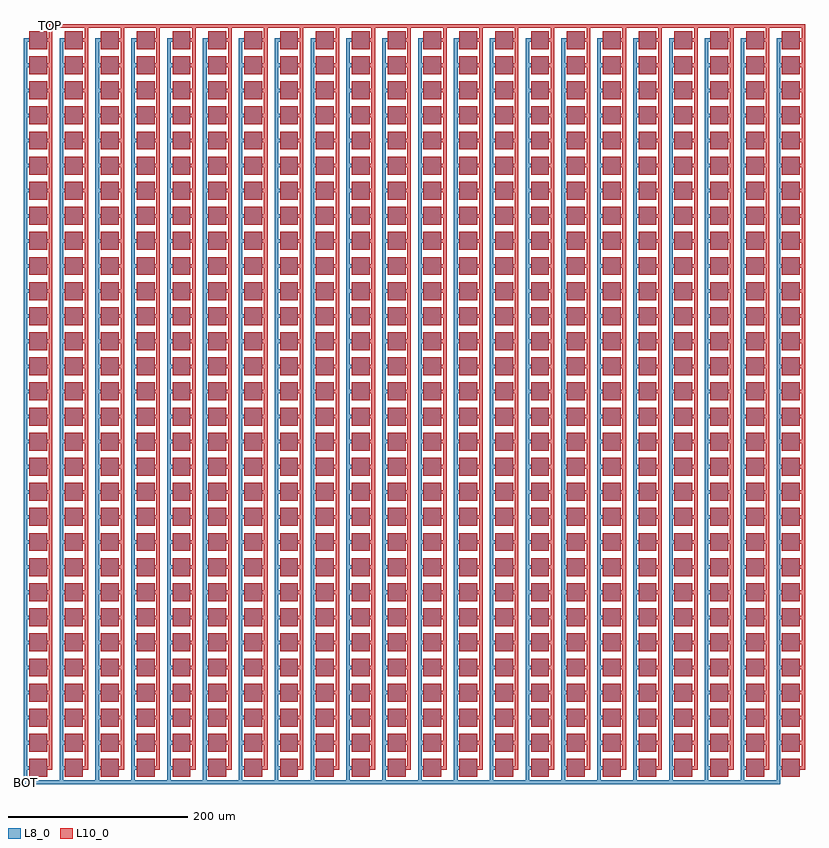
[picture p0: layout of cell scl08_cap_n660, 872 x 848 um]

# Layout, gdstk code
import gdstk
lib = gdstk.Library(unit=1e-6, precision=1e-09)
def R(c, l, rs):  # rectangles x0, y0, x1, y1
    for r in rs: c.add(gdstk.rectangle(r[:2], r[2:], *l))
def A(c, l, x, y, w, h, nx, ny, dx, dy):  # array of equal rectangles
    R(c, l, [(x+i*dx, y+j*dy, x+i*dx+w, y+j*dy+h) for i in range(nx) for j in range(ny)])
L8_0 = (8, 0)
L10_0 = (10, 0)

scl08_cap_n660 = lib.new_cell('scl08_cap_n660')
A(scl08_cap_n660, L8_0, -6, -8, 4, 832, 22, 1, 40, 0)
A(scl08_cap_n660, L8_0, 0, 0, 20, 20, 22, 30, 40, 28)
A(scl08_cap_n660, L8_0, -6, 8, 6, 4, 22, 30, 40, 28)
R(scl08_cap_n660, L8_0, [(-6,-8,838,-4)])
A(scl08_cap_n660, L10_0, 0, 0, 20, 20, 22, 30, 40, 28)
A(scl08_cap_n660, L10_0, 20, 8, 6, 4, 22, 30, 40, 28)
A(scl08_cap_n660, L10_0, 22, 8, 4, 832, 22, 1, 40, 0)
R(scl08_cap_n660, L10_0, [(22,836,866,840)])
scl08_cap_n660.add(gdstk.Label('BOT', (-4,-6), layer=8, texttype=7))
scl08_cap_n660.add(gdstk.Label('TOP', (24,838), layer=10, texttype=7))

lib.write_gds('scl08_cap_n660.gds')
